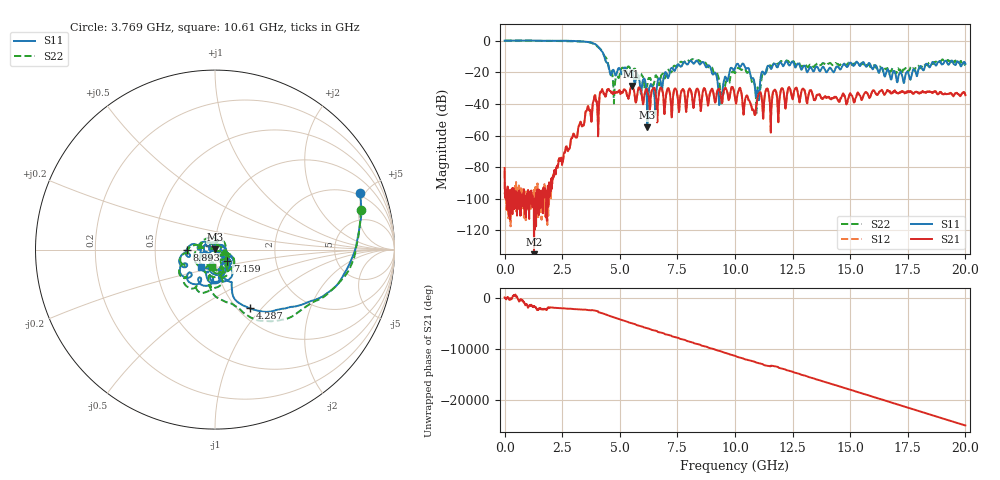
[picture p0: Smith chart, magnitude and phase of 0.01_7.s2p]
#  HZ  S  RI  R  50.00
! Rohde & Schwarz Vector Network Analyzer
! Rohde-Schwarz,ZNB20-2Port,1311601062102128,3.60
! Created: UTC 4/29/2024, 2:51:34 PM
! freq[Hz]  re:S11  im:S11  re:S21  im:S21  re:S12  im:S12  re:S22  im:S22
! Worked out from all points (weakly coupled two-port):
!   2007 points, 100 kHz to 20 GHz, reference 50 ohm
!   highest |S21| = -28.75 dB at 5.514 GHz (marker M1); lowest = -135.2 dB at 1.276 GHz (marker M2)
!   lowest |S11| = -54.8 dB at 6.191 GHz (marker M3), VSWR 1.00, Z = 50 + j0.178 ohm
!   |S11| at or under -10 dB: 4.328 GHz to end of sweep
!   |S22| runs from -46.0 to 0.1 dB; largest |S21 - S12| = 0.0021
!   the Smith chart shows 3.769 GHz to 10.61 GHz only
!   S11 on the Smith chart (normalised r, x): 3.769 GHz: 1.80, +4.59; 4.287 GHz: 1.13, -0.86; 7.159 GHz: 1.14, -0.14; 8.893 GHz: 0.73, -0.00; 10.61 GHz: 0.84, -0.17
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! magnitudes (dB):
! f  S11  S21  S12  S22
! 100 kHz  0.0  -80.5  -82.7  0.1
! 1.276 GHz  0.0  -135.2  -96.8  0.0
! 2.233 GHz  0.0  -80.3  -82.6  -0.3
! 3.34 GHz  -0.6  -53.6  -53.3  -0.6
! 3.769 GHz  -1.2  -51.4  -51.6  -1.5
! 4.287 GHz  -8.4  -32.6  -32.6  -8.7
! 4.776 GHz  -20.4  -32.7  -32.7  -29.8
! 5.514 GHz  -18.9  -28.8  -28.7  -20.1
! 6.191 GHz  -54.8  -32.1  -32.2  -28.3
! 6.67 GHz  -24.4  -37.3  -37.4  -25.9
! 7.159 GHz  -20.8  -32.2  -32.2  -19.2
! 7.916 GHz  -15.1  -39.3  -39.4  -12.0
! 8.893 GHz  -16.0  -34.3  -34.3  -16.6
! 9.372 GHz  -35.1  -34.3  -34.3  -33.9
! 10 GHz  -17.6  -35.6  -35.5  -20.5
! 10.61 GHz  -18.0  -37.8  -37.8  -20.0
! 10.82 GHz  -24.6  -44.5  -44.6  -26.1
! 10.97 GHz  -31.6  -37.3  -37.3  -31.5
! 11.46 GHz  -15.9  -32.6  -32.7  -16.2
! 13.34 GHz  -18.0  -32.6  -32.7  -15.3
! 16.67 GHz  -19.1  -31.9  -31.9  -20.5
! 20 GHz  -14.7  -34.5  -34.4  -14.3
